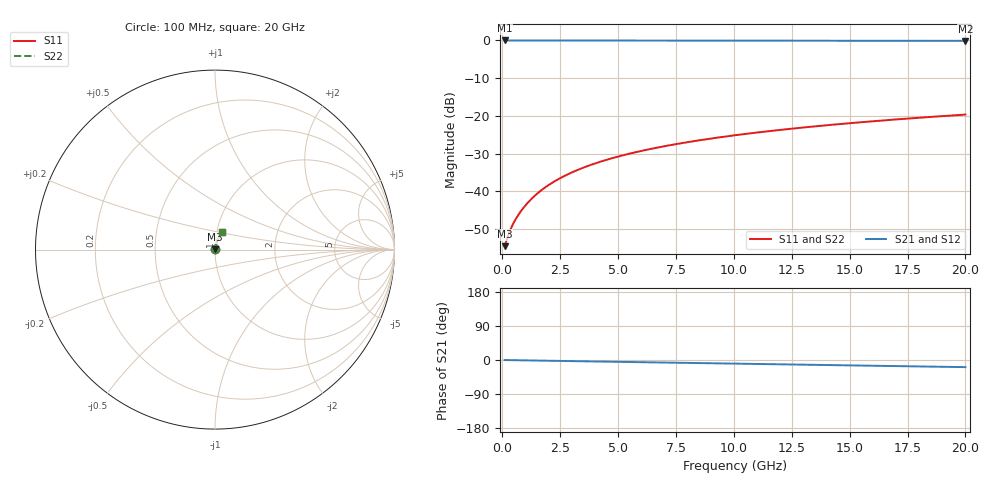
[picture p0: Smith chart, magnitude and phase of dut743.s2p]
! Touchstone file exported from HFSS 2026.1.0
!  File:  C:/ffzhzh/LocalFiles/Ansys_Project_Files/temp_train_BSMRDL_743_1783168731_55132.aedt
!  Generated:  08:39:59 PM Jul  4, 2026
!  Design:  BSMRDL
!  Project:  temp_train_BSMRDL_743_1783168731_55132
! Variables:
!  h_bsmrdl = 4.07um
!  h_ox = 20um
!  h_rdl = 5um
!  h_sub = 80um
!  h_tmrdl = 5um
!  h_tsv = 80um
!  h_via = 3um
!  l_bsmrdl = 308.68um
!  l_sub = 708.68um
!  l_tmrdl = 200um
!  m_sub = 200um
!  pitch = 26.41um
!  r_tsv = 6um
!  s_tmrdl = 10um
!  w_bsmrdl = 17.27um
!  w_sub = 500um
!  w_tmrdl = 12um
!  x_tsv_center1 = 206um
!  x_tsv_center2 = 531.95um
!  x_tsv_center3 = 743.95um
!  x_tsv_center4 = 1069.9um
!  x_tsv_center5 = 1281.9um
!  x_tsv_center6 = 1607.85um
# GHz S MA R 50.000000
! Terminal data exported
! Port[1] = BSM_RDL1_1_T1
! Port[2] = BSM_RDL1_1_T2
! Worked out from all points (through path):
!   200 points, 100 MHz to 20 GHz, reference 50 ohm
!   highest |S21| = -0.02 dB at 100 MHz (marker M1); lowest = -0.1 dB at 20 GHz (marker M2)
!   group delay of S21, straight-line fit = 2.61 ps
!   lowest |S11| = -54.5 dB at 100 MHz (marker M3), VSWR 1.00, Z = 50.2 + j0.0758 ohm
!   |S11| at or under -10 dB: start of sweep to end of sweep
!   |S22| runs from -54.5 to -19.6 dB; largest |S21 - S12| = 3.4e-15
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0.1  0.001889 23.6  0.9983 -0.1  0.9983 -0.1  0.001889 23.6
! Gamma 0 0 0 0
! Port Impedance 50 0 50 0
0.3  0.002862 46.7  0.998 -0.3  0.998 -0.3  0.002862 46.6
0.4  0.003379 52.3  0.9979 -0.4  0.9979 -0.4  0.003379 52.3
0.5  0.003894 56.4  0.9979 -0.5  0.9979 -0.5  0.003894 56.4
0.6  0.004411 59.8  0.9978 -0.6  0.9978 -0.6  0.004411 59.8
0.8  0.005465 64.7  0.9977 -0.8  0.9977 -0.8  0.005465 64.7
1  0.006547 68.2  0.9976 -1.0  0.9976 -1.0  0.006547 68.2
1.2  0.007651 70.7  0.9976 -1.2  0.9976 -1.2  0.007651 70.7
1.4  0.00877 72.5  0.9975 -1.4  0.9975 -1.4  0.00877 72.5
1.7  0.01047 74.4  0.9974 -1.7  0.9974 -1.7  0.01047 74.4
2.2  0.01331 76.3  0.9972 -2.2  0.9972 -2.2  0.01331 76.3
2.8  0.01673 77.3  0.997 -2.7  0.997 -2.7  0.01673 77.3
3.5  0.02068 77.8  0.9966 -3.4  0.9966 -3.4  0.02068 77.8
4.2  0.02459 77.8  0.9962 -4.1  0.9962 -4.1  0.02459 77.8
5  0.029 77.5  0.9957 -4.9  0.9957 -4.9  0.029 77.5
5.9  0.03387 77.1  0.9952 -5.7  0.9952 -5.7  0.03387 77.1
6.8  0.03867 76.5  0.9946 -6.6  0.9946 -6.6  0.03867 76.5
8.3  0.04653 75.5  0.9936 -8.0  0.9936 -8.0  0.04653 75.5
10.1  0.05577 74.2  0.9925 -9.7  0.9925 -9.7  0.05577 74.2
13.4  0.07231 71.7  0.9903 -12.7  0.9903 -12.7  0.07231 71.7
16.7  0.08844 69.1  0.9882 -15.8  0.9882 -15.8  0.08844 69.1
20  0.1042 66.4  0.9859 -18.8  0.9859 -18.8  0.1042 66.4
